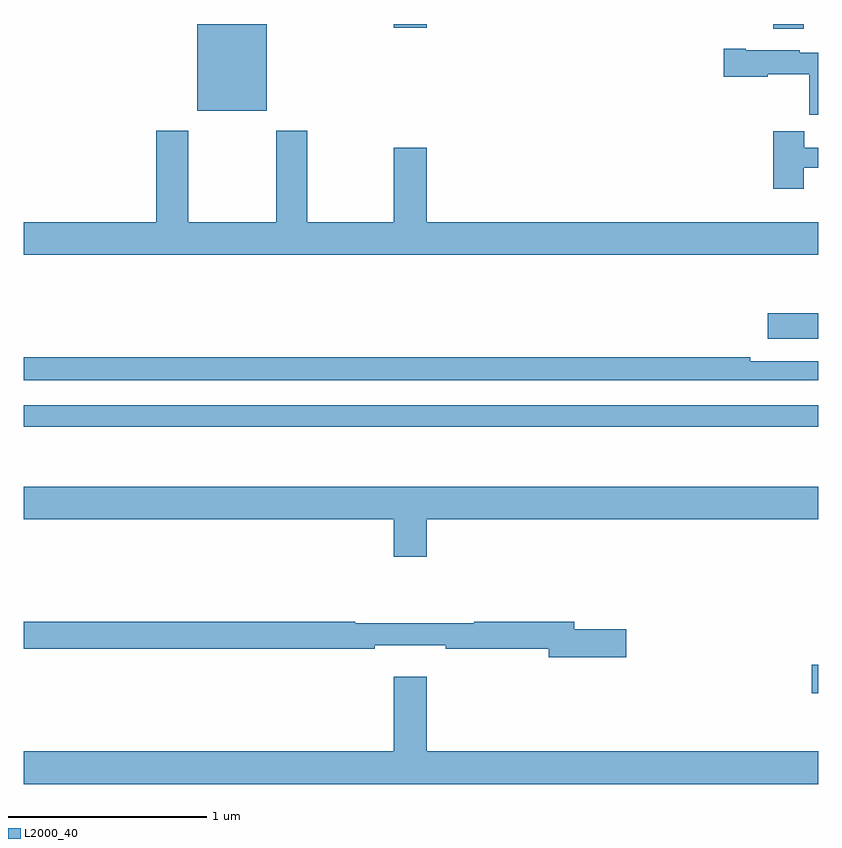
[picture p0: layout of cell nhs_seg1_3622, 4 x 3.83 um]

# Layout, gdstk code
import gdstk
lib = gdstk.Library(unit=1e-6, precision=1e-09)
def R(c, l, rs):  # rectangles x0, y0, x1, y1
    for r in rs: c.add(gdstk.rectangle(r[:2], r[2:], *l))
def P(c, l, *ps):  # polygons
    for p in ps: c.add(gdstk.Polygon(p, *l))
L2000_40 = (2000, 40)

nhs_seg1_3622 = lib.new_cell('nhs_seg1_3622')
R(nhs_seg1_3622, L2000_40, [(310.968,578.83,311,578.972), (307,580.17,311,580.278), (310.746,580.613,311,580.743), (307.874,581.762,308.224,582.199), (310.775,582.174,310.927,582.199), (308.864,582.18,309.028,582.199)])
P(nhs_seg1_3622, L2000_40, [(311,582.055),(310.908,582.055),(310.908,582.067),(310.636,582.067),(310.636,582.075),(310.524,582.075),(310.524,581.933),(310.746,581.933),(310.746,581.945),(310.954,581.945),(310.954,581.741),(311,581.741)],
  [(311,581.2),(309.028,581.2),(309.028,581.575),(308.864,581.575),(308.864,581.2),(308.427,581.2),(308.427,581.662),(308.272,581.662),(308.272,581.2),(307.827,581.2),(307.827,581.662),(307.667,581.662),(307.667,581.2),(307,581.2),(307,581.036),(311,581.036)],
  [(310.927,581.475),(311,581.475),(311,581.575),(310.93,581.575),(310.93,581.659),(310.775,581.659),(310.775,581.37),(310.927,581.37)],
  [(311,580.5),(310.658,580.5),(310.658,580.52),(307,580.52),(307,580.404),(311,580.404)],
  [(309.028,579.704),(311,579.704),(311,579.868),(307,579.868),(307,579.704),(308.864,579.704),(308.864,579.516),(309.028,579.516)],
  [(310.033,579.152),(309.772,579.152),(309.772,579.188),(309.268,579.188),(309.268,579.181),(308.668,579.181),(308.668,579.188),(307,579.188),(307,579.052),(308.768,579.052),(308.768,579.071),(309.124,579.071),(309.124,579.052),(309.644,579.052),(309.644,579.01),(310.033,579.01)],
  [(311,578.536),(309.028,578.536),(309.028,578.911),(308.864,578.911),(308.864,578.536),(307,578.536),(307,578.372),(311,578.372)])

lib.write_gds('nhs_seg1_3622.gds')
